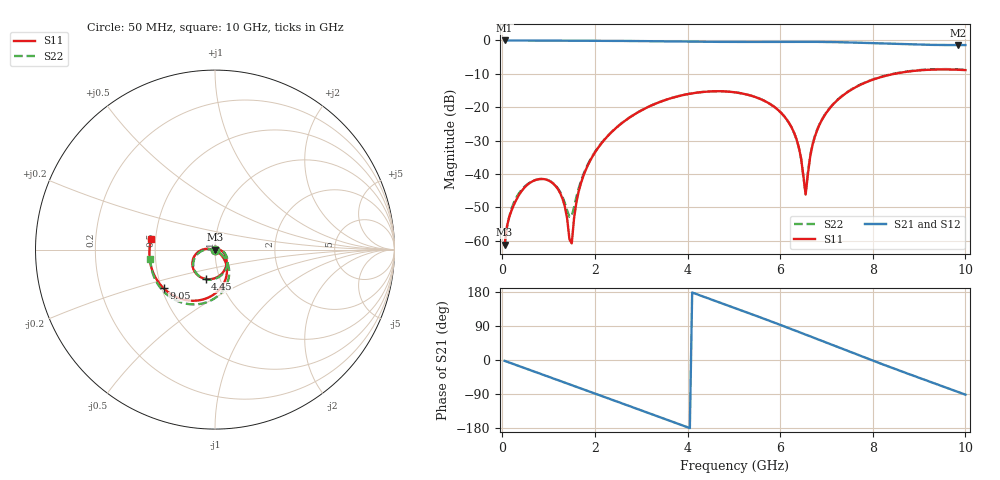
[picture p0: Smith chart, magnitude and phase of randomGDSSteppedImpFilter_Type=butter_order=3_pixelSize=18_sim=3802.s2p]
! freq	dB(S11)	phase(S11)	dB(S12)	phase(S12)
!  dB(S21)	phase(S21)	dB(S22)	phase(S22)
!S-par simulation data
#  GHz  S  DB  R 50
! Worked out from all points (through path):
!   200 points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, 50 MHz to 10 GHz, reference 50 ohm
!   highest |S21| = 0.00 dB at 50 MHz (marker M1); lowest = -1.4 dB at 9.85 GHz (marker M2)
!   group delay of S21, straight-line fit = 126 ps
!   lowest |S11| = -61.2 dB at 50 MHz (marker M3), VSWR 1.00, Z = 50 - j0.0866 ohm
!   |S11| at or under -10 dB: start of sweep to 8.468 GHz
!   |S22| runs from -61.6 to -8.6 dB; largest |S21 - S12| = 0
!   S11 on the Smith chart (normalised r, x): 50 MHz: 1.00, -0.00; 4.45 GHz: 0.86, -0.29; 9.05 GHz: 0.51, -0.25; 10 GHz: 0.47, +0.06
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0.05  -61.20 -84.0  -0.00 -2.2  -0.00 -2.2  -61.64 -66.5
0.15  -52.90 -87.4  -0.01 -6.7  -0.01 -6.7  -52.79 -88.3
0.3  -47.81 -100.9  -0.02 -13.3  -0.02 -13.3  -47.17 -100.1
0.85  -41.50 -129.7  -0.04 -37.6  -0.04 -37.6  -41.50 -133.2
1.25  -45.73 -151.4  -0.06 -55.2  -0.06 -55.2  -45.42 -163.5
1.5  -60.80 77.1  -0.07 -66.3  -0.07 -66.3  -52.65 97.7
1.6  -48.50 29.4  -0.08 -70.7  -0.08 -70.7  -46.93 52.2
1.75  -40.62 16.6  -0.08 -77.3  -0.08 -77.3  -40.19 29.0
2.35  -27.60 -13.7  -0.12 -104.0  -0.12 -104.0  -27.53 -8.6
3.4  -18.45 -61.2  -0.25 -150.8  -0.25 -150.8  -18.42 -57.8
4.45  -15.30 -107.7  -0.40 162.6  -0.40 162.6  -15.29 -104.3
5.05  -15.60 -134.0  -0.44 135.9  -0.44 135.9  -15.59 -130.4
6.15  -23.84 178.7  -0.40 85.9  -0.40 85.9  -23.86 -176.8
6.4  -31.83 173.0  -0.40 74.2  -0.40 74.2  -31.94 178.4
6.55  -46.16 -111.3  -0.40 67.1  -0.40 67.1  -45.59 -101.7
6.7  -31.27 -40.2  -0.41 60.0  -0.41 60.0  -31.05 -35.8
6.9  -23.85 -44.4  -0.44 50.5  -0.44 50.5  -23.74 -39.6
7.25  -17.70 -59.2  -0.52 33.8  -0.52 33.8  -17.62 -53.8
8.35  -10.35 -110.5  -0.98 -17.7  -0.98 -17.7  -10.27 -102.4
9.05  -8.92 -143.1  -1.26 -49.1  -1.26 -49.1  -8.83 -132.2
9.85  -8.78 178.4  -1.39 -84.7  -1.39 -84.7  -8.68 -165.4
10  -8.89 170.8  -1.38 -91.4  -1.38 -91.4  -8.79 -171.6
